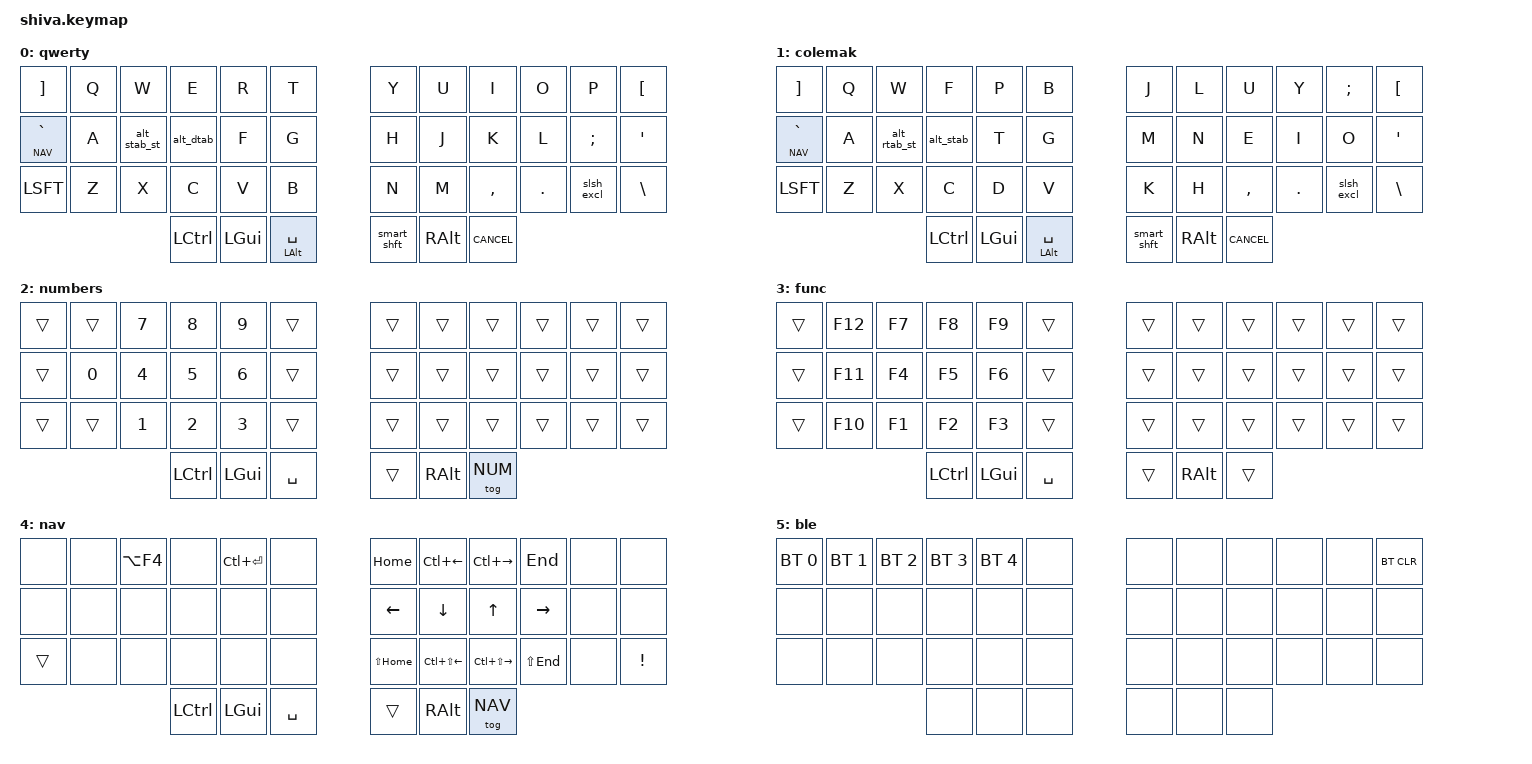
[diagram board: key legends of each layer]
#include <behaviors.dtsi>
#include <dt-bindings/zmk/keys.h>
#include <dt-bindings/zmk/bt.h>

#include "zmk-helpers/helper.h"

// Source unicode-chars for desired languages
#include "zmk-helpers/unicode-chars/german.dtsi"

#define QWERTY 0
#define COLEMAK 1
#define NUM 2
#define FUNC 3
#define NAV 4
#define BT 5

&lt { flavor = "balanced"; tapping-term-ms = <200>; quick-tap-ms = <200>; require-prior-idle-ms = <200>; };
&mt { flavor = "balanced"; tapping-term-ms = <200>; quick-tap-ms = <200>; require-prior-idle-ms = <200>; };
&sk { release-after-ms = <800>; quick-release; };
&sl { ignore-modifiers; release-after-ms = <10000>; };

// morphs
ZMK_BEHAVIOR(smart_shft, mod_morph, bindings = <&sk RSFT>, <&kp CAPS>; mods = <(MOD_RSFT)>;)
ZMK_BEHAVIOR(slsh_excl, mod_morph, bindings = <&kp SLASH>, <&kp EXCL>; mods = <(MOD_RSFT)>;)

// parentheses, braces, brackets, chevrons morphs
ZMK_BEHAVIOR(lparchev, mod_morph, bindings = <&kp LPAR>, <&kp LT>; mods = <(MOD_RSFT)>;)
ZMK_BEHAVIOR(rparchev, mod_morph, bindings = <&kp RPAR>, <&kp GT>; mods = <(MOD_RSFT)>;)
ZMK_BEHAVIOR(lbrkbrc, mod_morph, bindings = <&kp LBKT>, <&kp LBRC>; mods = <(MOD_RSFT)>;)
ZMK_BEHAVIOR(rbrkbrc, mod_morph, bindings = <&kp RBKT>, <&kp RBRC>; mods = <(MOD_RSFT)>;)

ZMK_BEHAVIOR(alt_dtab, mod_morph, bindings = <&kp D>, <&kp TAB>; mods = <(MOD_LALT)>; keep-mods = <(MOD_LALT)>;)
ZMK_BEHAVIOR(alt_stab, mod_morph, bindings = <&kp S>, <&kp TAB>; mods = <(MOD_LALT)>; keep-mods = <(MOD_LALT)>;)
ZMK_BEHAVIOR(alt_stab_st, mod_morph, bindings = <&kp S>, <&kp LS(TAB)>; mods = <(MOD_LALT)>; keep-mods = <(MOD_LALT)>;)
ZMK_BEHAVIOR(alt_rtab_st, mod_morph, bindings = <&kp R>, <&kp LS(TAB)>; mods = <(MOD_LALT)>; keep-mods = <(MOD_LALT)>;)

/ {

    behaviors {
        num_dance: num_dance_hold_tap {
            compatible = "zmk,behavior-hold-tap";
            #binding-cells = <2>;
            flavor = "balanced";
            tapping-term-ms = <150>;
            quick-tap-ms = <200>;
            bindings = <&tog>, <&sl>;
        };
    };

    macros {
        pinp: pinp {
            compatible = "zmk,behavior-macro";
            #binding-cells = <0>;
            bindings
                = <&macro_tap &kp PRCNT &kp I &kp N &kp PRCNT>
                ;
        };
        nequal: nequal {
            compatible = "zmk,behavior-macro";
            #binding-cells = <0>;
            bindings
                = <&macro_tap &kp EXCL &kp EQUAL>
                ;
        };
    };

    keymap {
        compatible = "zmk,keymap";

        QWERTY {
            label = "qwerty";
            bindings = <
    &kp RBKT         &kp Q     &kp W        &kp E        &kp R      &kp T     &kp Y     &kp U    &kp I      &kp O     &kp P       &kp LBKT
    &lt NAV GRAVE    &kp A     &alt_stab_st &alt_dtab    &kp F      &kp G     &kp H     &kp J    &kp K      &kp L     &kp SEMI    &kp SQT
    &kp LSFT         &kp Z     &kp X        &kp C        &kp V      &kp B     &kp N     &kp M    &kp COMMA  &kp DOT   &slsh_excl  &kp BSLH
    &kp LCTRL                  &kp LGUI                             &mt LALT SPACE           &smart_shft         &kp RALT  &kp K_CANCEL
            >;
        };
        COLEMAK{
            label = "colemak";
            bindings = <
    &kp RBKT         &kp Q     &kp W     &kp F        &kp P      &kp B     &kp J     &kp L     &kp U     &kp Y      &kp SEMI    &kp LBKT
    &lt NAV GRAVE    &kp A     &alt_rtab_st &alt_stab &kp T      &kp G     &kp M     &kp N     &kp E     &kp I      &kp O       &kp SQT
    &kp LSFT         &kp Z     &kp X     &kp C        &kp D      &kp V     &kp K     &kp H     &kp COMMA &kp DOT    &slsh_excl  &kp BSLH
    &kp LCTRL                  &kp LGUI                          &mt LALT SPACE           &smart_shft         &kp RALT   &kp K_CANCEL
            >;
        };
        NUM{
            label = "numbers";
            bindings = <
    &trans       &trans    &kp N7     &kp N8      &kp N9     &trans    &trans    &trans   &trans   &trans    &trans      &trans
    &trans       &kp N0    &kp N4     &kp N5      &kp N6     &trans    &trans    &trans   &trans   &trans    &trans      &trans
    &trans       &trans    &kp N1     &kp N2      &kp N3     &trans    &trans    &trans   &trans   &trans    &trans      &trans
    &kp LCTRL              &kp LGUI                          &kp SPACE           &trans              &kp RALT   &tog NUM
            >;
        };
        FUNC{
            label = "func";
            bindings = <
    &trans       &kp F12   &kp F7     &kp F8      &kp F9     &trans    &trans    &trans    &trans    &trans     &trans     &trans
    &trans       &kp F11   &kp F4     &kp F5      &kp F6     &trans    &trans    &trans    &trans    &trans     &trans     &trans
    &trans       &kp F10   &kp F1     &kp F2      &kp F3     &trans    &trans    &trans    &trans    &trans     &trans     &trans
    &kp LCTRL              &kp LGUI                          &kp SPACE           &trans              &kp RALT   &trans
            >;
        };
        NAV{
            label = "nav";
            bindings = <
    &none        &none     &kp LA(F4) &none      &kp LC(ENTER)  &none     &kp HOME             &kp LC(LEFT)     &kp LC(RIGHT)     &kp END               &none    &none
    &none        &none     &none      &none      &none          &none     &kp LEFT             &kp DOWN         &kp UP            &kp RIGHT             &none    &none
    &trans       &none     &none      &none      &none          &none     &kp LS(HOME)         &kp LC(LS(LEFT)) &kp LC(LS(RIGHT)) &kp LS(END)           &none    &kp EXCL
    &kp LCTRL              &kp LGUI                             &kp SPACE                      &trans                             &kp RALT              &tog NAV
            >;
        };
        BT {
            label = "ble";
            bindings = <
    &bt BT_SEL 0 &bt BT_SEL 1 &bt BT_SEL 2 &bt BT_SEL 3 &bt BT_SEL 4 &none     &none    &none     &none     &none    &none   &bt BT_CLR
    &none        &none        &none        &none        &none        &none     &none    &none     &none     &none    &none   &none
    &none        &none        &none        &none        &none        &none     &none    &none     &none     &none    &none   &none
    &none                     &none                                  &none              &none               &none    &none
            >;
        };
    };
};

/*                KEY POSITIONS
  ╭───────────────────────────────────────────────╮
  │ 0   1   2   3   4   5   6   7   8   9   10  11│
  │ 12  13  14  15  16  17  18  19  20  21  22  23│
  │ 24  25  26  27  28  29  30  31  32  33  34  35│
  │ 36   37         38  39                 40   41│
  ╰───────────────────────────────────────────────╯
 */
#undef COMBO_HOOK
#define COMBO_HOOK require-prior-idle-ms = <200>;

#define COMBO_TERM_COMMON 40

/* symbol combos */

/* Horizontal combos - left hand */
ZMK_COMBO(esc,      &kp ESC,          2 3,          ALL, COMBO_TERM_COMMON)
ZMK_COMBO(enter,    &kp ENTER,        3 4,          ALL, COMBO_TERM_COMMON)
ZMK_COMBO(tab,      &kp TAB,        14 15,          ALL, COMBO_TERM_COMMON)
ZMK_COMBO(cut,      &kp LC(X),      26 28,          ALL, COMBO_TERM_COMMON)
ZMK_COMBO(copy,     &kp LC(INS),    26 27,          ALL, COMBO_TERM_COMMON)
ZMK_COMBO(paste,    &kp LS(INS),    27 28,          ALL, COMBO_TERM_COMMON)

/* Horizontal combos - right hand */
ZMK_COMBO(bspc,     &kp BSPC,         7 8,          ALL, COMBO_TERM_COMMON)
ZMK_COMBO(del,      &kp DEL,          8 9,          ALL, COMBO_TERM_COMMON)
ZMK_COMBO(com_lpc,  &lparchev,      19 20,          ALL, COMBO_TERM_COMMON)
ZMK_COMBO(com_rpc,  &rparchev,      20 21,          ALL, COMBO_TERM_COMMON)
ZMK_COMBO(com_lbb,  &lbrkbrc,       31 32,          ALL, COMBO_TERM_COMMON)
ZMK_COMBO(com_rbb,  &rbrkbrc,       32 33,          ALL, COMBO_TERM_COMMON)


/* Vertical combos - left hand */
ZMK_COMBO(at,       &kp AT,          2 14,          ALL, COMBO_TERM_COMMON)
ZMK_COMBO(hash,     &kp HASH,        3 15,          ALL, COMBO_TERM_COMMON)
ZMK_COMBO(dllr,     &kp DLLR,        4 16,          ALL, COMBO_TERM_COMMON)
ZMK_COMBO(prcnt,    &kp PRCNT,       5 17,          ALL, COMBO_TERM_COMMON)

ZMK_COMBO(grave,    &kp GRAVE,      14 26,          ALL, COMBO_TERM_COMMON)
ZMK_COMBO(bslh,     &kp BSLH,       15 27,          ALL, COMBO_TERM_COMMON)
ZMK_COMBO(equal,    &kp EQUAL,      16 28,          ALL, COMBO_TERM_COMMON)
ZMK_COMBO(tilde,    &kp TILDE,      17 29,          ALL, COMBO_TERM_COMMON)

/* Vertical combos - right hand */
ZMK_COMBO(caret,    &kp CARET,       6 18,          ALL, COMBO_TERM_COMMON)
ZMK_COMBO(plus,     &kp PLUS,        7 19,          ALL, COMBO_TERM_COMMON)
ZMK_COMBO(star,     &kp STAR,        8 20,          ALL, COMBO_TERM_COMMON)
ZMK_COMBO(amps,     &kp AMPS,        9 21,          ALL, COMBO_TERM_COMMON)

ZMK_COMBO(under,    &kp UNDER,      18 30,          ALL, COMBO_TERM_COMMON)
ZMK_COMBO(minus,    &kp MINUS,      19 31,          ALL, COMBO_TERM_COMMON)
ZMK_COMBO(fslh,     &kp FSLH,       20 32,          ALL, COMBO_TERM_COMMON)
ZMK_COMBO(pipe,     &kp PIPE,       21 33,          ALL, COMBO_TERM_COMMON)

/* special combos */
ZMK_COMBO(rpipe,     &kp LC(LS(M)),     31 20 21,      ALL, COMBO_TERM_COMMON)
ZMK_COMBO(requal,    &kp LA(MINUS),     19  8  9,      ALL, COMBO_TERM_COMMON)
ZMK_COMBO(boot,        &bootloader,        12 35,       BT, COMBO_TERM_COMMON)
ZMK_COMBO(nequal,          &nequal,        15 27,      ALL, COMBO_TERM_COMMON)
ZMK_COMBO(pinp,              &pinp,     14 15 27,      ALL, COMBO_TERM_COMMON)

/* layer combos */
ZMK_COMBO(toqwer,   &to QWERTY,         1 4 7 10, COLEMAK, COMBO_TERM_COMMON)
ZMK_COMBO(tocole,   &to COLEMAK,        1 4 7 10,  QWERTY, COMBO_TERM_COMMON)
ZMK_COMBO(tognum,   &num_dance NUM NUM,    14 16,     ALL, COMBO_TERM_COMMON)
ZMK_COMBO(slfunc,   &sl FUNC,                2 4,     ALL, COMBO_TERM_COMMON)
ZMK_COMBO(tognav,   &tog NAV,              13 16,     ALL, COMBO_TERM_COMMON)
ZMK_COMBO(slble,    &sl BT,          13 16 19 22,     ALL, COMBO_TERM_COMMON)


/* TODO: copy PUR plus caps/caps word, ctrl+S to work on all layers*/
